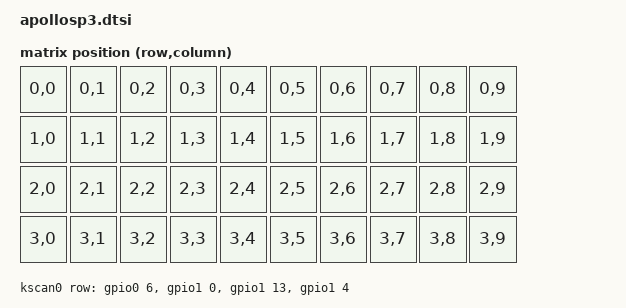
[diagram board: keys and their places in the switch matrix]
#include <dt-bindings/zmk/matrix_transform.h>
#include <physical_layouts.dtsi>

/ {
    chosen {
        zmk,kscan = &kscan0;
        zmk,physical-layout = &physical_layout0;
        /* バッテリー表示を有効にするための紐付け */
        zmk,battery = &vbatt;
    };

    /* バッテリー電圧測定の設定 (nice!nano v2 標準) */
    vbatt: vbatt {
        compatible = "zmk,battery-voltage-divider";
        label = "BATTERY";
        io-channels = <&adc 7>;
        output-ohms = <2000000>;
        full-ohms = <2806000>;
    };

    /* --- 以下、既存のレイアウト定義 --- */
    physical_layout0: physical_layout0 {
        compatible = "zmk,physical-layout";
        display-name = "Default Layout";
        transform = <&default_transform>;
        keys
            /* 既存の key_physical_attrs 定義（中略） */
            = <&key_physical_attrs 100 100   0   0 0 0 0>,
            /* ... (ここにお手元のキー定義をすべて入れてください) ... */
            ;
    };

    default_transform: keymap_transform0 {
        compatible = "zmk,matrix-transform";
        columns = <10>;
        rows = <4>;
        map = <
            RC(0,0) RC(0,1) RC(0,2) RC(0,3) RC(0,4)  RC(0,5) RC(0,6) RC(0,7) RC(0,8) RC(0,9)
            RC(1,0) RC(1,1) RC(1,2) RC(1,3) RC(1,4)  RC(1,5) RC(1,6) RC(1,7) RC(1,8) RC(1,9)
            RC(2,0) RC(2,1) RC(2,2) RC(2,3) RC(2,4)  RC(2,5) RC(2,6) RC(2,7) RC(2,8) RC(2,9)
            RC(3,0) RC(3,1) RC(3,2) RC(3,3) RC(3,4)  RC(3,5) RC(3,6) RC(3,7) RC(3,8) RC(3,9)
        >;
    };

    kscan0: kscan {
        compatible = "zmk,kscan-gpio-matrix";
        wakeup-source;
        diode-direction = "col2row";
        row-gpios
            = <&gpio0 6  (GPIO_ACTIVE_LOW | GPIO_PULL_UP)>
            , <&gpio1 0  (GPIO_ACTIVE_LOW | GPIO_PULL_UP)>
            , <&gpio1 13 (GPIO_ACTIVE_LOW | GPIO_PULL_UP)>
            , <&gpio1 4  (GPIO_ACTIVE_LOW | GPIO_PULL_UP)>;
    };
};
